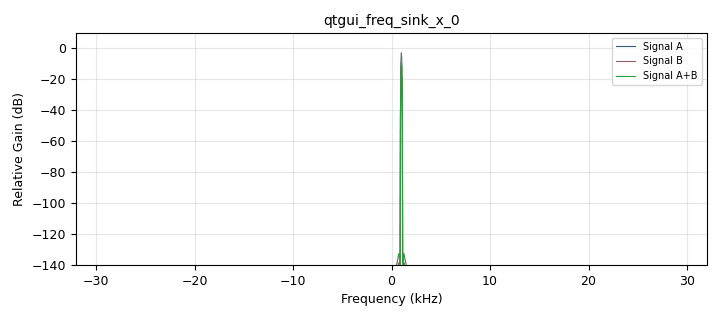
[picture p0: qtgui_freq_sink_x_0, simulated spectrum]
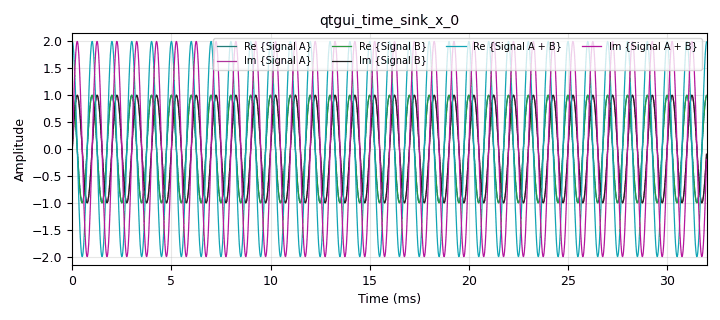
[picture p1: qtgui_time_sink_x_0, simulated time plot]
<?xml version='1.0' encoding='utf-8'?>
<?grc format='1' created='3.7.10'?>
<flow_graph>
<block>
<key>options</key>
<param><key>id</key><value>simple_example_iq</value></param>
<param><key>category</key><value>Custom</value></param>
<param><key>generate_options</key><value>qt_gui</value></param>
</block>
<block>
<key>variable_qtgui_range</key>
<param><key>id</key><value>freq_a</value></param>
<param><key>value</key><value>1e3</value></param>
<param><key>label</key><value>Signal A Frequency</value></param>
<param><key>orient</key><value>Qt.Horizontal</value></param>
<param><key>start</key><value>1e2</value></param>
<param><key>step</key><value>1</value></param>
<param><key>stop</key><value>samp_rate/2</value></param>
</block>
<block>
<key>variable_qtgui_range</key>
<param><key>id</key><value>freq_b</value></param>
<param><key>value</key><value>1e3</value></param>
<param><key>label</key><value>Signal B Frequency</value></param>
<param><key>orient</key><value>Qt.Horizontal</value></param>
<param><key>start</key><value>1e2</value></param>
<param><key>step</key><value>1</value></param>
<param><key>stop</key><value>samp_rate/2</value></param>
</block>
<block>
<key>variable_qtgui_range</key>
<param><key>id</key><value>phase_a</value></param>
<param><key>value</key><value>0</value></param>
<param><key>label</key><value>Phase A</value></param>
<param><key>orient</key><value>Qt.Horizontal</value></param>
<param><key>start</key><value>0</value></param>
<param><key>step</key><value>0.001</value></param>
<param><key>stop</key><value>2.0*numpy.pi</value></param>
</block>
<block>
<key>variable_qtgui_range</key>
<param><key>id</key><value>phase_a_0</value></param>
<param><key>value</key><value>0</value></param>
<param><key>label</key><value>Phase A</value></param>
<param><key>orient</key><value>Qt.Horizontal</value></param>
<param><key>start</key><value>0</value></param>
<param><key>step</key><value>0.001</value></param>
<param><key>stop</key><value>2.0*numpy.pi</value></param>
</block>
<block>
<key>variable</key>
<param><key>id</key><value>samp_rate</value></param>
<param><key>value</key><value>64000</value></param>
</block>
<block>
<key>blocks_add_xx</key>
<param><key>id</key><value>blocks_add_xx_0</value></param>
<param><key>type</key><value>complex</value></param>
</block>
<block>
<key>blocks_multiply_const_vxx</key>
<param><key>id</key><value>blocks_multiply_const_vxx_0</value></param>
<param><key>const</key><value>numpy.exp((0+1j)*phase_a)</value></param>
<param><key>type</key><value>complex</value></param>
</block>
<block>
<key>blocks_multiply_const_vxx</key>
<param><key>id</key><value>blocks_multiply_const_vxx_0_0</value></param>
<param><key>const</key><value>numpy.exp((0+1j)*phase_a)</value></param>
<param><key>type</key><value>complex</value></param>
</block>
<block>
<key>blocks_throttle</key>
<param><key>id</key><value>blocks_throttle_0</value></param>
<param><key>samples_per_second</key><value>samp_rate</value></param>
<param><key>type</key><value>complex</value></param>
</block>
<block>
<key>import</key>
<param><key>id</key><value>import_0</value></param>
<param><key>import</key><value>import numpy</value></param>
</block>
<block>
<key>qtgui_freq_sink_x</key>
<param><key>id</key><value>qtgui_freq_sink_x_0</value></param>
<param><key>bw</key><value>samp_rate</value></param>
<param><key>fc</key><value>0</value></param>
<param><key>ctrlpanel</key><value>True</value></param>
<param><key>fftsize</key><value>2048</value></param>
<param><key>gui_hint</key><value>tab@1</value></param>
<param><key>grid</key><value>True</value></param>
<param><key>label1</key><value>Signal A</value></param>
<param><key>label2</key><value>Signal B</value></param>
<param><key>label3</key><value>Signal A+B</value></param>
<param><key>nconnections</key><value>3</value></param>
<param><key>showports</key><value>True</value></param>
<param><key>type</key><value>complex</value></param>
<param><key>wintype</key><value>firdes.WIN_BLACKMAN_hARRIS</value></param>
</block>
<block>
<key>qtgui_time_sink_x</key>
<param><key>id</key><value>qtgui_time_sink_x_0</value></param>
<param><key>ctrlpanel</key><value>True</value></param>
<param><key>gui_hint</key><value>tab@0</value></param>
<param><key>grid</key><value>True</value></param>
<param><key>color1</key><value>"blue"</value></param>
<param><key>label1</key><value>Re {Signal A}</value></param>
<param><key>color2</key><value>"red"</value></param>
<param><key>label2</key><value>Im {Signal A}</value></param>
<param><key>color3</key><value>"green"</value></param>
<param><key>label3</key><value>Re {Signal B}</value></param>
<param><key>color4</key><value>"black"</value></param>
<param><key>label4</key><value>Im {Signal B}</value></param>
<param><key>color5</key><value>"cyan"</value></param>
<param><key>label5</key><value>Re {Signal A + B}</value></param>
<param><key>color6</key><value>"magenta"</value></param>
<param><key>label6</key><value>Im {Signal A + B}</value></param>
<param><key>nconnections</key><value>3</value></param>
<param><key>size</key><value>2048</value></param>
<param><key>srate</key><value>samp_rate</value></param>
<param><key>type</key><value>complex</value></param>
<param><key>ymax</key><value>2</value></param>
<param><key>ymin</key><value>-2</value></param>
</block>
<block>
<key>analog_sig_source_x</key>
<param><key>id</key><value>signal_A</value></param>
<param><key>amp</key><value>1</value></param>
<param><key>freq</key><value>freq_a</value></param>
<param><key>offset</key><value>0</value></param>
<param><key>type</key><value>complex</value></param>
<param><key>samp_rate</key><value>samp_rate</value></param>
<param><key>waveform</key><value>analog.GR_COS_WAVE</value></param>
</block>
<block>
<key>analog_sig_source_x</key>
<param><key>id</key><value>signal_B</value></param>
<param><key>amp</key><value>1</value></param>
<param><key>freq</key><value>freq_b</value></param>
<param><key>offset</key><value>0</value></param>
<param><key>type</key><value>complex</value></param>
<param><key>samp_rate</key><value>samp_rate</value></param>
<param><key>waveform</key><value>analog.GR_SIN_WAVE</value></param>
</block>
<block>
<key>qtgui_tab_widget</key>
<param><key>id</key><value>tab</value></param>
<param><key>label0</key><value>Time Domain</value></param>
<param><key>label1</key><value>Frequency Domain</value></param>
<param><key>num_tabs</key><value>2</value></param>
</block>
<connection><source_block_id>blocks_add_xx_0</source_block_id><sink_block_id>qtgui_freq_sink_x_0</sink_block_id><source_key>0</source_key><sink_key>2</sink_key></connection>
<connection><source_block_id>blocks_add_xx_0</source_block_id><sink_block_id>qtgui_time_sink_x_0</sink_block_id><source_key>0</source_key><sink_key>2</sink_key></connection>
<connection><source_block_id>blocks_multiply_const_vxx_0</source_block_id><sink_block_id>blocks_add_xx_0</sink_block_id><source_key>0</source_key><sink_key>0</sink_key></connection>
<connection><source_block_id>blocks_multiply_const_vxx_0</source_block_id><sink_block_id>qtgui_freq_sink_x_0</sink_block_id><source_key>0</source_key><sink_key>0</sink_key></connection>
<connection><source_block_id>blocks_multiply_const_vxx_0</source_block_id><sink_block_id>qtgui_time_sink_x_0</sink_block_id><source_key>0</source_key><sink_key>0</sink_key></connection>
<connection><source_block_id>blocks_multiply_const_vxx_0_0</source_block_id><sink_block_id>blocks_add_xx_0</sink_block_id><source_key>0</source_key><sink_key>1</sink_key></connection>
<connection><source_block_id>blocks_multiply_const_vxx_0_0</source_block_id><sink_block_id>blocks_throttle_0</sink_block_id><source_key>0</source_key><sink_key>0</sink_key></connection>
<connection><source_block_id>blocks_throttle_0</source_block_id><sink_block_id>qtgui_freq_sink_x_0</sink_block_id><source_key>0</source_key><sink_key>1</sink_key></connection>
<connection><source_block_id>blocks_throttle_0</source_block_id><sink_block_id>qtgui_time_sink_x_0</sink_block_id><source_key>0</source_key><sink_key>1</sink_key></connection>
<connection><source_block_id>signal_A</source_block_id><sink_block_id>blocks_multiply_const_vxx_0</sink_block_id><source_key>0</source_key><sink_key>0</sink_key></connection>
<connection><source_block_id>signal_B</source_block_id><sink_block_id>blocks_multiply_const_vxx_0_0</sink_block_id><source_key>0</source_key><sink_key>0</sink_key></connection>
</flow_graph>
